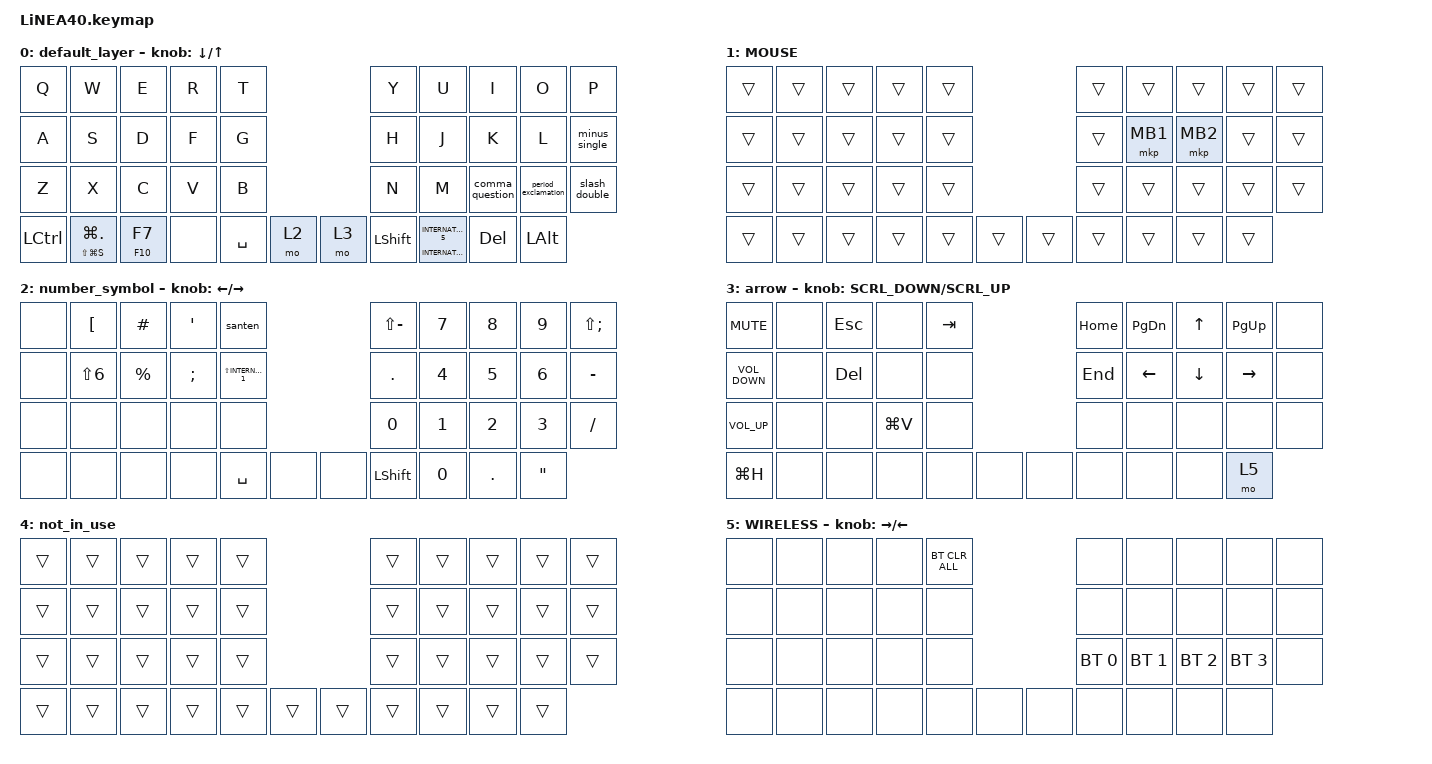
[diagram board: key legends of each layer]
#define ZMK_POINTING_DEFAULT_SCRL_VAL 150

#include <dt-bindings/zmk/input_transform.h>
#include <input/processors.dtsi>
#include <zephyr/dt-bindings/input/input-event-codes.h>
#include <behaviors.dtsi>
#include <dt-bindings/zmk/bt.h>
#include <dt-bindings/zmk/keys.h>
#include <dt-bindings/zmk/pointing.h>

#define MOUSE 1
#define MARK 2
#define CURSOR 3
#define FUNCTION 4
#define SCROLL 5
#define WIRELESS 6

//mouse cursol

&mmv {
    delay-ms = <20>;
    trigger-period-ms = <5>;
    time-to-max-speed-ms = <100>;
    acceleration-exponent = <2>;
};

//mouse scroll

&msc {
    delay-ms = <3>;
    trigger-period-ms = <3>;
    time-to-max-speed-ms = <100>;
    acceleration-exponent = <0>;
};

/ {
    input_processors {
        zip_wheel_scaler: zip_wheel_scaler {
            compatible = "zmk,input-processor-scaler";
            #input-processor-cells = <2>;
            type = <INPUT_EV_REL>;
            codes = <INPUT_REL_WHEEL>;
            track-remainders;
        };
    };
};

&msc_input_listener {
    speed_up {
        layers = <FUNCTION>;
        input-processors = <&zip_wheel_scaler 3 1>; //スクロールを3倍速にする
    };
};

&trackball_listener {
    scroller {
        layers = <SCROLL>;
        input-processors =
            <&zip_xy_transform INPUT_TRANSFORM_Y_INVERT>,
            //スクロール方向を逆転,,,,,,,,,
            <&zip_xy_to_scroll_mapper>;
    };
};

/ {
    combos {
        compatible = "zmk,combos";

        Enter {
            bindings = <&kp ENTER>;
            key-positions = <16 18>;
            layers = <0 2 1>;
        };

        Backspace {
            bindings = <&kp BACKSPACE>;
            key-positions = <11 13>;
            layers = <0 2 1>;
        };

        Middle_click {
            bindings = <&mkp MCLK>;
            key-positions = <16 17>;
            layers = <1>;
        };

        left_kakko {
            bindings = <&kp LS(N8)>;
            key-positions = <2 3>;
            layers = <0 1 2>;
        };

        right_kakko {
            bindings = <&kp LS(N9)>;
            key-positions = <3 4>;
            layers = <0 2 1>;
        };

        left_kagi {
            bindings = <&kp RIGHT_BRACKET>;
            key-positions = <12 13>;
            layers = <0 2 1>;
        };

        right_kagi {
            bindings = <&kp NUHS>;
            key-positions = <13 14>;
            layers = <0 2 1>;
        };

        syounari {
            bindings = <&kp LS(COMMA)>;
            key-positions = <22 23>;
            layers = <0 2 1>;
        };

        dainari {
            bindings = <&kp LS(PERIOD)>;
            key-positions = <23 24>;
            layers = <0 2 1>;
        };
    };

    behaviors {
        re_kp: sensor_rotate_kp {
            compatible = "zmk,behavior-sensor-rotate-var";
            #sensor-binding-cells = <2>;
            bindings = <&kp>, <&kp>;
        };

        mouse_scrl: mouse_wheel_scrl {
            compatible = "zmk,behavior-sensor-rotate-var";
            #sensor-binding-cells = <2>;
            bindings = <&msc>, <&msc>;

            tap-ms = <20>;
        };

        minus_single: minus_single {
            compatible = "zmk,behavior-mod-morph";
            label = "MINUS_SINGLE";
            bindings = <&kp MINUS>, <&kp AMPERSAND>;

            #binding-cells = <0>;
            mods = <(MOD_LSFT)>;
        };

        slash_double: slash_double {
            compatible = "zmk,behavior-mod-morph";
            label = "SLASH_DOUBLE";
            bindings = <&kp SLASH>, <&kp AT_SIGN>;

            #binding-cells = <0>;
            mods = <(MOD_LSFT)>;
        };

        period_exclamation: period_exclamation {
            compatible = "zmk,behavior-mod-morph";
            label = "PERIOD_EXCLAMATION";
            bindings = <&kp PERIOD>, <&kp EXCLAMATION>;

            #binding-cells = <0>;
            mods = <(MOD_LSFT)>;
        };

        comma_question: comma_question {
            compatible = "zmk,behavior-mod-morph";
            label = "COMMA_QUESTION";
            bindings = <&kp COMMA>, <&kp QUESTION>;

            #binding-cells = <0>;
            mods = <(MOD_LSFT)>;
        };
    };

    macros {
        santen: santenj {
            compatible = "zmk,behavior-macro";
            #binding-cells = <0>;
            bindings = <&kp QUESTION &kp T &kp INTERNATIONAL_4>;
            label = "SANTENJ";
        };
    };

    keymap {
        compatible = "zmk,keymap";

        default_layer {
            bindings = <
&kp Q      &kp W                     &kp E       &kp R  &kp T                      &kp Y           &kp U  &kp I                                &kp O                &kp P
&kp A      &kp S                     &kp D       &kp F  &kp G                      &kp H           &kp J  &kp K                                &kp L                &minus_single
&kp Z      &kp X                     &kp C       &kp V  &kp B                      &kp N           &kp M  &comma_question                      &period_exclamation  &slash_double
&kp LCTRL  &mt LS(LG(S)) LG(PERIOD)  &mt F10 F7  &none  &kp SPACE  &mo 2    &mo 3  &kp LEFT_SHIFT         &mt INTERNATIONAL_4 INTERNATIONAL_5  &kp DELETE           &kp LEFT_ALT
            >;

            sensor-bindings = <&re_kp DOWN_ARROW UP_ARROW>;
        };

        MOUSE {
            bindings = <
&trans  &trans  &trans  &trans  &trans                    &trans  &trans    &trans    &trans  &trans
&trans  &trans  &trans  &trans  &trans                    &trans  &mkp MB1  &mkp MB2  &trans  &trans
&trans  &trans  &trans  &trans  &trans                    &trans  &trans    &trans    &trans  &trans
&trans  &trans  &trans  &trans  &trans  &trans    &trans  &trans            &trans    &trans  &trans
            >;
        };

        number_symbol {
            bindings = <
&none  &kp LEFT_BRACKET  &kp HASH     &kp APOS       &santen                                  &kp LS(MINUS)   &kp NUMBER_7  &kp NUMBER_8  &kp NUMBER_9  &kp LS(SEMI)
&none  &kp LS(NUMBER_6)  &kp PERCENT  &kp SEMICOLON  &kp LS(INTERNATIONAL_1)                  &kp PERIOD      &kp NUMBER_4  &kp NUMBER_5  &kp NUMBER_6  &kp MINUS
&none  &none             &none        &none          &none                                    &kp N0          &kp NUMBER_1  &kp NUMBER_2  &kp NUMBER_3  &kp SLASH
&none  &none             &none        &none          &kp SPACE                &none    &none  &kp LEFT_SHIFT                &kp N0        &kp PERIOD    &kp DOUBLE_QUOTES
            >;

            sensor-bindings = <&inc_dec_kp LEFT RIGHT>;
        };

        arrow {
            bindings = <
&kp K_MUTE         &none  &kp ESCAPE  &none      &kp TAB                  &kp HOME  &kp PAGE_DOWN  &kp UP_ARROW    &kp PAGE_UP  &none
&kp C_VOLUME_DOWN  &none  &kp DEL     &none      &none                    &kp END   &kp LEFT       &kp DOWN_ARROW  &kp RIGHT    &none
&kp C_VOLUME_UP    &none  &none       &kp LG(V)  &none                    &none     &none          &none           &none        &none
&kp LG(H)          &none  &none       &none      &none    &none    &none  &none                    &none           &none        &mo 5
            >;

            sensor-bindings = <&mouse_scrl SCRL_DOWN SCRL_UP>;
        };

        not_in_use {
            bindings = <
&trans  &trans  &trans  &trans  &trans                    &trans  &trans  &trans  &trans  &trans
&trans  &trans  &trans  &trans  &trans                    &trans  &trans  &trans  &trans  &trans
&trans  &trans  &trans  &trans  &trans                    &trans  &trans  &trans  &trans  &trans
&trans  &trans  &trans  &trans  &trans  &trans    &trans  &trans          &trans  &trans  &trans
            >;
        };

        WIRELESS {
            bindings = <
&none  &none  &none  &none  &bt BT_CLR_ALL                  &none         &none         &none         &none         &none
&none  &none  &none  &none  &none                           &none         &none         &none         &none         &none
&none  &none  &none  &none  &none                           &bt BT_SEL 0  &bt BT_SEL 1  &bt BT_SEL 2  &bt BT_SEL 3  &none
&none  &none  &none  &none  &none           &none    &none  &none                       &none         &none         &none
            >;

            sensor-bindings = <&inc_dec_kp RIGHT_ARROW LEFT_ARROW>;
        };
    };
};
